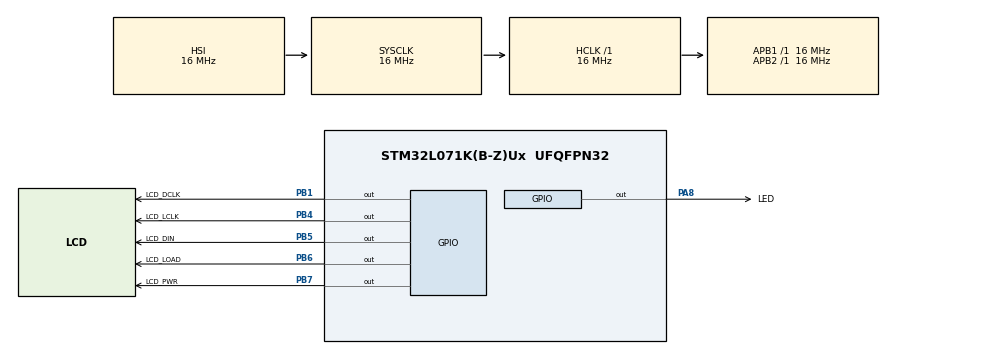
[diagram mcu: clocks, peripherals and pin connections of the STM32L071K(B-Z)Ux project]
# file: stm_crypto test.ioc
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Mcu.Family=STM32L0
Mcu.Name=STM32L071K(B-Z)Ux
Mcu.Package=UFQFPN32
PA8.GPIO_Label=LED
PA8.GPIO_Speed=GPIO_SPEED_FREQ_VERY_HIGH
PA8.Signal=GPIO_Output
PB1.GPIO_Label=LCD_DCLK
PB1.GPIO_Speed=GPIO_SPEED_FREQ_VERY_HIGH
PB1.Signal=GPIO_Output
PB4.GPIO_Label=LCD_LCLK
PB4.GPIO_Speed=GPIO_SPEED_FREQ_VERY_HIGH
PB4.Signal=GPIO_Output
PB5.GPIO_Label=LCD_DIN
PB5.GPIO_Speed=GPIO_SPEED_FREQ_VERY_HIGH
PB5.Signal=GPIO_Output
PB6.GPIO_Label=LCD_LOAD
PB6.GPIO_Speed=GPIO_SPEED_FREQ_VERY_HIGH
PB6.Signal=GPIO_Output
PB7.GPIO_Label=LCD_PWR
PB7.GPIO_Speed=GPIO_SPEED_FREQ_VERY_HIGH
PB7.Signal=GPIO_Output
ProjectManager.HeapSize=0x200
ProjectManager.StackSize=0x400
ProjectManager.TargetToolchain=TrueSTUDIO
RCC.AHBFreq_Value=16000000
RCC.APB1Freq_Value=16000000
RCC.APB1TimFreq_Value=16000000
RCC.APB2Freq_Value=16000000
RCC.APB2TimFreq_Value=16000000
RCC.HCLKFreq_Value=16000000
RCC.HSI16_VALUE=16000000
RCC.HSI_VALUE=16000000
RCC.LSE_VALUE=32768
RCC.MSI_VALUE=2097000
RCC.SYSCLKFreq_VALUE=16000000
RCC.SYSCLKSource=RCC_SYSCLKSOURCE_HSI
RCC.VCOOutputFreq_Value=48000000
board=custom

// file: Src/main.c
/* USER CODE BEGIN Header */
/**
  ******************************************************************************
  * @file           : main.c
  * @brief          : Main program body
  ******************************************************************************
  * @attention
  *
  * <h2><center>&copy; Copyright (c) 2019 STMicroelectronics.
  * All rights reserved.</center></h2>
  *
  * This software component is licensed by ST under BSD 3-Clause license,
  * the "License"; You may not use this file except in compliance with the
  * License. You may obtain a copy of the License at:
  *                        opensource.org/licenses/BSD-3-Clause
  *
  ******************************************************************************
  */
/* USER CODE END Header */

#include "main.h"
#include "gpio.h"

/* USER CODE BEGIN Includes */
#include <string.h>
#include <stdio.h>
#include "data_sets.h"
#include "tic33.h"
#include "magma.h"
#include "magma_mgm.h"
#include "stribog.h"
/* USER CODE END Includes */

/* USER CODE BEGIN PV */

#define MGM_MODE

magma_ctx_t ctx_magma;
magma_ctx_t ctx_magma_mgm;
stribog_ctx_t ctx_stribog;

uint8_t mgm_data[100], mgm_t[MAGMA_DATA_SIZE];
uint32_t local_time_mgm_enc, local_time_mgm_dec;
uint32_t local_time_mic;

uint8_t tmp[MAGMA_DATA_SIZE * 4];
uint8_t out[MAGMA_DATA_SIZE * 4];

uint8_t result_enc[5][MAGMA_DATA_SIZE], result_dec[5][MAGMA_DATA_SIZE];
uint32_t local_time_ctr_enc_4, local_time_ctr_dec_4;
uint32_t local_time_ctr_enc_1, local_time_ctr_dec_1;
uint32_t local_time_enc, local_time_dec;
uint32_t local_time_mic_4, local_time_mic_2;
uint32_t local_time_hash512_63, local_time_hash256_63;
uint32_t local_time_hash512_72, local_time_hash256_72;
uint32_t local_time_hash512_32, local_time_hash256_32;
uint32_t fail;

char tic33_buf[100];

/* USER CODE END PV */

void SystemClock_Config(void);

/* USER CODE BEGIN 0 */

uint8_t test(const uint8_t * data0, const uint8_t * data1, uint8_t len)
{
	uint8_t fail = 0;
	for (uint8_t i = 0; i < len; i++)
		if (data0[i] != data1[i])
			fail++;
	return fail;
}

uint8_t test_hash(stribog_ctx_t *ctx, const uint8_t * data)
{
	return test(ctx->h, data, ctx->size ? STRIBOG_OUTPUT_SIZE_512 : STRIBOG_OUTPUT_SIZE_256);
}

/* USER CODE END 0 */

int main(void)
{

  /* MCU Configuration--------------------------------------------------------*/

  /* Reset of all peripherals, Initializes the Flash interface and the Systick. */
  HAL_Init();

  /* Configure the system clock */
  SystemClock_Config();

  /* Initialize all configured peripherals */
  MX_GPIO_Init();

  /* Infinite loop */
  /* USER CODE BEGIN WHILE */
  LCD_Setup();
  Magma_Init(&ctx_magma, key);
  while (1)
  {
    /* USER CODE END WHILE */

    /* USER CODE BEGIN 3 */

#ifdef MGM_MODE
	fail = 0;
	local_time_mgm_enc = HAL_GetTick();
	for(uint16_t i = 0; i < 2; i++)
	{
		Magma_Init(&ctx_magma_mgm, mgm_key[i]);
		for(uint16_t j = 0; j < 500; j++)
		{
			Magma_MGM(&ctx_magma_mgm, mgm_nonce[i], mgm_p[i], 9, mgm_data);
			fail += test(mgm_test[i], mgm_data, 9);
		}
	}
	local_time_mgm_enc = HAL_GetTick() - local_time_mgm_enc;

	local_time_mgm_dec = HAL_GetTick();
	for(uint16_t i = 0; i < 2; i++)
	{
		Magma_Init(&ctx_magma_mgm, mgm_key[i]);
		for(uint16_t j = 0; j < 500; j++)
		{
			Magma_MGM(&ctx_magma_mgm, mgm_nonce[i], mgm_test[i], 9, mgm_data);
			fail += test(mgm_p[i], mgm_data, 9);
		}
	}
	local_time_mgm_dec = HAL_GetTick() - local_time_mgm_dec;

	HAL_GPIO_WritePin(LED_GPIO_Port, LED_Pin, fail ? GPIO_PIN_SET : GPIO_PIN_RESET);
	snprintf(tic33_buf, 10, "%ld %ld", local_time_mgm_enc, local_time_mgm_dec);
	LCD_string_TIC33(tic33_buf);

	fail = 0;
	local_time_mic = HAL_GetTick();
	for(uint16_t i = 0; i < 2; i++)
	{
		Magma_Init(&ctx_magma_mgm, mgm_key[i]);
		for(uint16_t j = 0; j < 500; j++)
		{
			Magma_MGM_MIC(&ctx_magma_mgm, mgm_nonce[i], mgm_test[i], mgm_a[i], 9, 0, mgm_t);
			fail += test(mgm_mic_test[i], mgm_t, MAGMA_DATA_SIZE);
		}
	}
	local_time_mic = HAL_GetTick() - local_time_mic;

	HAL_GPIO_WritePin(LED_GPIO_Port, LED_Pin, fail ? GPIO_PIN_SET : GPIO_PIN_RESET);
	snprintf(tic33_buf, 10, "%ld %ld", local_time_mic, 0);
	LCD_string_TIC33(tic33_buf);

#else
/*
	Display overview
	local_time_ctr_enc_4	local_time_ctr_dec_4;	1000 times
	local_time_ctr_enc_1	local_time_ctr_dec_1;	1000 times
	local_time_enc			local_time_dec			1000 times
	local_time_mic_4		local_time_mic_2		1000 times
	local_time_hash512_63	local_time_hash256_63	100 times
	local_time_hash512_72	local_time_hash256_72	100 times
	local_time_hash512_32	local_time_hash256_32	100 times
*/
	//	test ctr mode 4 blocks
	fail = 0;
	local_time_ctr_enc_4 = HAL_GetTick();
	for(uint8_t i = 0; i < 4; i++)
		memcpy(&tmp[i * MAGMA_DATA_SIZE], data[1 + i], MAGMA_DATA_SIZE);
	for(uint16_t j = 0; j < 1000; j++)
	{
		memset(out, 0, MAGMA_DATA_SIZE * 4);
		Magma_CTR(&ctx_magma, tmp, data_ctr_iv, out, MAGMA_DATA_SIZE * 4);
		for(uint8_t i = 0; i < 4; i++)
			fail += test(data_ctr_test[i + 1], &out[i * MAGMA_DATA_SIZE], MAGMA_DATA_SIZE);
	}
	local_time_ctr_enc_4 = HAL_GetTick() - local_time_ctr_enc_4;
	local_time_ctr_dec_4 = HAL_GetTick();

	for(uint16_t j = 0; j < 1000; j++)
	{
		memset(tmp, 0, MAGMA_DATA_SIZE * 4);
		Magma_CTR(&ctx_magma, out, data_ctr_iv, tmp, MAGMA_DATA_SIZE * 4);
		for(uint8_t i = 0; i < 4; i++)
			fail += test(data[i + 1], &tmp[i * MAGMA_DATA_SIZE], MAGMA_DATA_SIZE);
	}
	local_time_ctr_dec_4 = HAL_GetTick() - local_time_ctr_dec_4;

	HAL_GPIO_WritePin(LED_GPIO_Port, LED_Pin, fail ? GPIO_PIN_SET : GPIO_PIN_RESET);
	snprintf(tic33_buf, 10, "%ld %ld", local_time_ctr_enc_4, local_time_ctr_dec_4);
	LCD_string_TIC33(tic33_buf);

	//	test ctr mode 1 blocks
	fail = 0;
	local_time_ctr_enc_1 = HAL_GetTick();
	memcpy(tmp, data[0], MAGMA_DATA_SIZE);
	for(uint16_t j = 0; j < 1000; j++)
	{
		memset(out, 0, MAGMA_DATA_SIZE * 4);
		Magma_CTR(&ctx_magma, tmp, data_ctr_iv, out, MAGMA_DATA_SIZE);
		test(data_ctr_test[0], out, MAGMA_DATA_SIZE);
	}
	local_time_ctr_enc_1 = HAL_GetTick() - local_time_ctr_enc_1;
	local_time_ctr_dec_1 = HAL_GetTick();

	for(uint16_t j = 0; j < 1000; j++)
	{
		memset(tmp, 0, MAGMA_DATA_SIZE * 4);
		Magma_CTR(&ctx_magma, out, data_ctr_iv, tmp, MAGMA_DATA_SIZE);
		test(data[0], tmp, MAGMA_DATA_SIZE);
	}
	local_time_ctr_dec_1 = HAL_GetTick() - local_time_ctr_dec_1;

	HAL_GPIO_WritePin(LED_GPIO_Port, LED_Pin, fail ? GPIO_PIN_SET : GPIO_PIN_RESET);
	snprintf(tic33_buf, 10, "%ld %ld", local_time_ctr_enc_1, local_time_ctr_dec_1);
	LCD_string_TIC33(tic33_buf);

	//	test ecb mode 1 blocks
	fail = 0;
	local_time_enc = HAL_GetTick();
	for(uint16_t j = 0; j < 200; j++)
	{
		for(uint8_t i = 0; i < 5; i++)
		{
			Magma_ECB_enc(&ctx_magma, data[i]);
			memcpy(result_enc[i], ctx_magma.out, MAGMA_DATA_SIZE);
			fail += test(data_enc_test[i], ctx_magma.out, sizeof(ctx_magma.out));
		}
	}
	local_time_enc = HAL_GetTick() - local_time_enc;
	local_time_dec = HAL_GetTick();
	for(uint16_t j = 0; j < 200; j++)
	{
		for(uint8_t i = 0; i < 5; i++)
		{
			Magma_ECB_dec(&ctx_magma, result_enc[i]);
			memcpy(result_dec[i], ctx_magma.out, MAGMA_DATA_SIZE);
			fail += test(data[i], ctx_magma.out, sizeof(ctx_magma.out));
		}
	}
	local_time_dec = HAL_GetTick() - local_time_dec;

	HAL_GPIO_WritePin(LED_GPIO_Port, LED_Pin, fail ? GPIO_PIN_SET : GPIO_PIN_RESET);
	snprintf(tic33_buf, 10, "%ld %ld", local_time_enc, local_time_dec);
	LCD_string_TIC33(tic33_buf);

	//	test mic mode 4 blocks

	uint8_t data_data[MAGMA_DATA_SIZE * 4];
	for(uint8_t i = 0; i < 4; i++)
		memcpy(data_data + MAGMA_DATA_SIZE * i, data[i + 1], MAGMA_DATA_SIZE);

	fail = 0;
	local_time_mic_4 = HAL_GetTick();
	for(uint16_t j = 0; j < 1000; j++)
	{
		Magma_MIC(&ctx_magma, data_data, 32);
		fail += test(mic_test[0], ctx_magma.out, 4);
	}
	local_time_mic_4 = HAL_GetTick() - local_time_mic_4;

	//	test mic mode 2 blocks
	local_time_mic_2 = HAL_GetTick();
	for(uint16_t j = 0; j < 1000; j++)
	{
		Magma_MIC(&ctx_magma, data_data, 16);
		fail += test(mic_test[1], ctx_magma.out, 4);
	}
	local_time_mic_2 = HAL_GetTick() - local_time_mic_2;

	HAL_GPIO_WritePin(LED_GPIO_Port, LED_Pin, fail ? GPIO_PIN_SET : GPIO_PIN_RESET);
	snprintf(tic33_buf, 10, "%ld %ld", local_time_mic_4, local_time_mic_2);
	LCD_string_TIC33(tic33_buf);

	//	test hash512 63bytes
	fail = 0;
	local_time_hash512_63 = HAL_GetTick();
	for (uint8_t i = 0; i < 100; i++)
	{
		stribog_init(&ctx_stribog, STRIBOG_HASH512);
		stribog_calc(&ctx_stribog, message0, sizeof(message0));
		fail += test_hash(&ctx_stribog, message0_test[0]);
	}
	local_time_hash512_63 = HAL_GetTick() - local_time_hash512_63;

	//	test hash256 63bytes
	local_time_hash256_63 = HAL_GetTick();
	for (uint8_t i = 0; i < 100; i++)
	{
		stribog_init(&ctx_stribog, STRIBOG_HASH256);
		stribog_calc(&ctx_stribog, message0, sizeof(message0));
		fail += test_hash(&ctx_stribog, message0_test[1]);
	}
	local_time_hash256_63 = HAL_GetTick() - local_time_hash256_63;

	HAL_GPIO_WritePin(LED_GPIO_Port, LED_Pin, fail ? GPIO_PIN_SET : GPIO_PIN_RESET);
	snprintf(tic33_buf, 10, "%ld %ld", local_time_hash512_63, local_time_hash256_63);
	LCD_string_TIC33(tic33_buf);

	//	test hash512 72bytes
	fail = 0;
	local_time_hash512_72 = HAL_GetTick();
	for (uint8_t i = 0; i < 100; i++)
	{
		stribog_init(&ctx_stribog, STRIBOG_HASH512);
		stribog_calc(&ctx_stribog, message1, sizeof(message1));
		fail += test_hash(&ctx_stribog, message1_test[0]);
	}
	local_time_hash512_72 = HAL_GetTick() - local_time_hash512_72;

	//	test hash256 72bytes
	local_time_hash256_72 = HAL_GetTick();
	for (uint8_t i = 0; i < 100; i++)
	{
		stribog_init(&ctx_stribog, STRIBOG_HASH256);
		stribog_calc(&ctx_stribog, message1, sizeof(message1));
		fail += test_hash(&ctx_stribog, message1_test[1]);
	}
	local_time_hash256_72 = HAL_GetTick() - local_time_hash256_72;

	HAL_GPIO_WritePin(LED_GPIO_Port, LED_Pin, fail ? GPIO_PIN_SET : GPIO_PIN_RESET);
	snprintf(tic33_buf, 10, "%ld %ld", local_time_hash512_72, local_time_hash256_72);
	LCD_string_TIC33(tic33_buf);

	//	test hash512 32bytes
	local_time_hash512_32 = HAL_GetTick();
	for (uint8_t i = 0; i < 100; i++)
	{
		stribog_init(&ctx_stribog, STRIBOG_HASH512);
		stribog_calc(&ctx_stribog, key, sizeof(key));
	}
	local_time_hash512_32 = HAL_GetTick() - local_time_hash512_32;

	//	test hash256 32bytes
	local_time_hash256_32 = HAL_GetTick();
	for (uint8_t i = 0; i < 100; i++)
	{
		stribog_init(&ctx_stribog, STRIBOG_HASH256);
		stribog_calc(&ctx_stribog, key, sizeof(key));
	}
	local_time_hash256_32 = HAL_GetTick() - local_time_hash256_32;

	snprintf(tic33_buf, 10, "%ld %ld", local_time_hash512_32, local_time_hash256_32);
	LCD_string_TIC33(tic33_buf);
#endif
	HAL_Delay(1000);
  }
  /* USER CODE END 3 */
}

void SystemClock_Config(void)
{
  RCC_OscInitTypeDef RCC_OscInitStruct = {0};
  RCC_ClkInitTypeDef RCC_ClkInitStruct = {0};

  /** Configure the main internal regulator output voltage
  */
  __HAL_PWR_VOLTAGESCALING_CONFIG(PWR_REGULATOR_VOLTAGE_SCALE1);
  /** Initializes the CPU, AHB and APB busses clocks
  */
  RCC_OscInitStruct.OscillatorType = RCC_OSCILLATORTYPE_HSI;
  RCC_OscInitStruct.HSIState = RCC_HSI_ON;
  RCC_OscInitStruct.HSICalibrationValue = RCC_HSICALIBRATION_DEFAULT;
  RCC_OscInitStruct.PLL.PLLState = RCC_PLL_NONE;
  if (HAL_RCC_OscConfig(&RCC_OscInitStruct) != HAL_OK)
  {
    Error_Handler();
  }
  /** Initializes the CPU, AHB and APB busses clocks
  */
  RCC_ClkInitStruct.ClockType = RCC_CLOCKTYPE_HCLK|RCC_CLOCKTYPE_SYSCLK
                              |RCC_CLOCKTYPE_PCLK1|RCC_CLOCKTYPE_PCLK2;
  RCC_ClkInitStruct.SYSCLKSource = RCC_SYSCLKSOURCE_HSI;
  RCC_ClkInitStruct.AHBCLKDivider = RCC_SYSCLK_DIV1;
  RCC_ClkInitStruct.APB1CLKDivider = RCC_HCLK_DIV1;
  RCC_ClkInitStruct.APB2CLKDivider = RCC_HCLK_DIV1;

  if (HAL_RCC_ClockConfig(&RCC_ClkInitStruct, FLASH_LATENCY_0) != HAL_OK)
  {
    Error_Handler();
  }
}

void Error_Handler(void)
{
}

/************************ (C) COPYRIGHT STMicroelectronics *****END OF FILE****/
